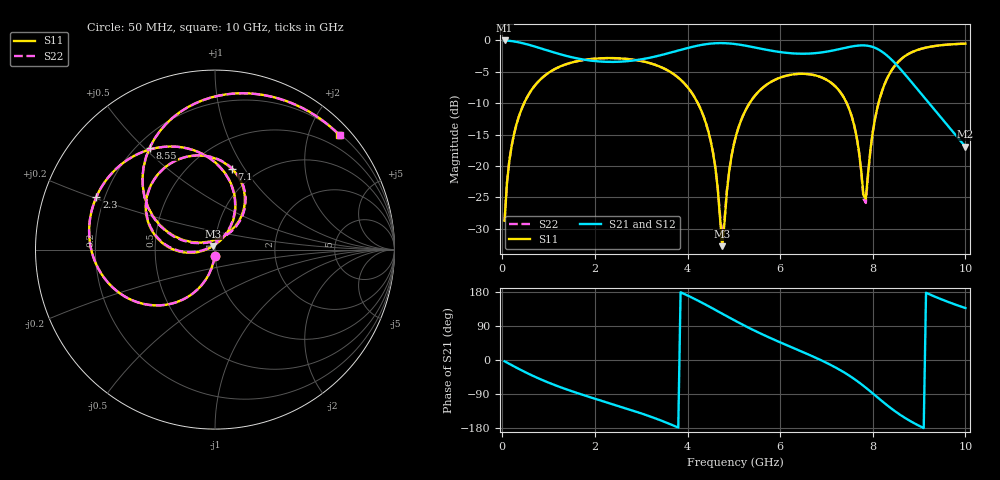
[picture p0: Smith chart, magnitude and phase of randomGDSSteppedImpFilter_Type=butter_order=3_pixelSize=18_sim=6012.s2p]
! freq	dB(S11)	phase(S11)	dB(S12)	phase(S12)
!  dB(S21)	phase(S21)	dB(S22)	phase(S22)
!S-par simulation data
#  GHz  S  DB  R 50
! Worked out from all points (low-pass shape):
!   200 points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, 50 MHz to 10 GHz, reference 50 ohm
!   highest |S21| = -0.01 dB at 50 MHz (marker M1); lowest = -16.9 dB at 10 GHz (marker M2)
!   |S21| within 3 dB of the highest: start of sweep to 1.721 GHz; 3.007 GHz to 8.397 GHz (5.39 GHz wide, 94.5 % of centre)
!   lowest |S11| = -32.8 dB at 4.75 GHz (marker M3), VSWR 1.05, Z = 48.9 + j2.01 ohm
!   |S11| at or under -10 dB: start of sweep to 471.8 MHz; 4.222 GHz to 5.34 GHz (1.118 GHz wide, 23.4 % of centre); 7.438 GHz to 8.124 GHz (686.2 MHz wide, 8.82 % of centre)
!   |S22| runs from -31.8 to -0.5 dB; largest |S21 - S12| = 0
!   S11 on the Smith chart (normalised r, x): 50 MHz: 0.99, -0.07; 2.3 GHz: 0.17, +0.21; 7.1 GHz: 0.77, +0.88; 8.55 GHz: 0.25, +0.52; 10 GHz: 0.22, +2.54
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0.05  -28.73 -93.6  -0.01 -3.4  -0.01 -3.4  -28.73 -93.6
0.2  -16.88 -104.0  -0.11 -13.4  -0.11 -13.4  -16.88 -104.0
0.5  -9.56 -122.9  -0.56 -32.4  -0.56 -32.4  -9.56 -122.9
1  -5.16 -150.3  -1.66 -59.8  -1.66 -59.8  -5.16 -150.3
1.75  -3.13 177.0  -3.05 -92.5  -3.05 -92.5  -3.13 177.1
2.3  -2.82 156.1  -3.42 -113.5  -3.42 -113.5  -2.82 156.1
3.4  -4.17 111.9  -2.40 -158.4  -2.40 -158.4  -4.17 112.0
4.35  -12.17 62.8  -0.66 148.8  -0.66 148.8  -12.17 63.3
4.6  -20.23 54.4  -0.46 132.2  -0.46 132.2  -20.17 55.9
4.75  -32.77 116.6  -0.43 122.2  -0.43 122.2  -31.77 117.0
4.9  -20.78 -171.9  -0.49 112.1  -0.49 112.1  -20.71 -173.9
5.05  -15.11 -175.0  -0.60 102.2  -0.60 102.2  -15.09 -176.1
5.8  -6.62 145.5  -1.63 57.4  -1.63 57.4  -6.62 145.0
6.7  -5.48 99.9  -2.07 9.7  -2.07 9.7  -5.48 99.5
7.1  -6.74 78.2  -1.67 -13.6  -1.67 -13.6  -6.75 77.6
7.55  -12.19 52.2  -0.97 -45.9  -0.97 -45.9  -12.20 51.1
7.85  -25.21 126.0  -0.82 -73.0  -0.82 -73.0  -25.89 127.3
8.05  -12.42 161.7  -1.19 -93.2  -1.19 -93.2  -12.46 162.6
8.35  -5.48 139.0  -2.68 -123.3  -2.68 -123.3  -5.48 139.2
8.55  -3.42 122.6  -4.18 -141.2  -4.18 -141.2  -3.42 122.7
9.15  -1.14 82.9  -9.45 177.5  -9.45 177.5  -1.15 82.8
10  -0.52 42.7  -16.93 137.1  -16.93 137.1  -0.52 42.6
